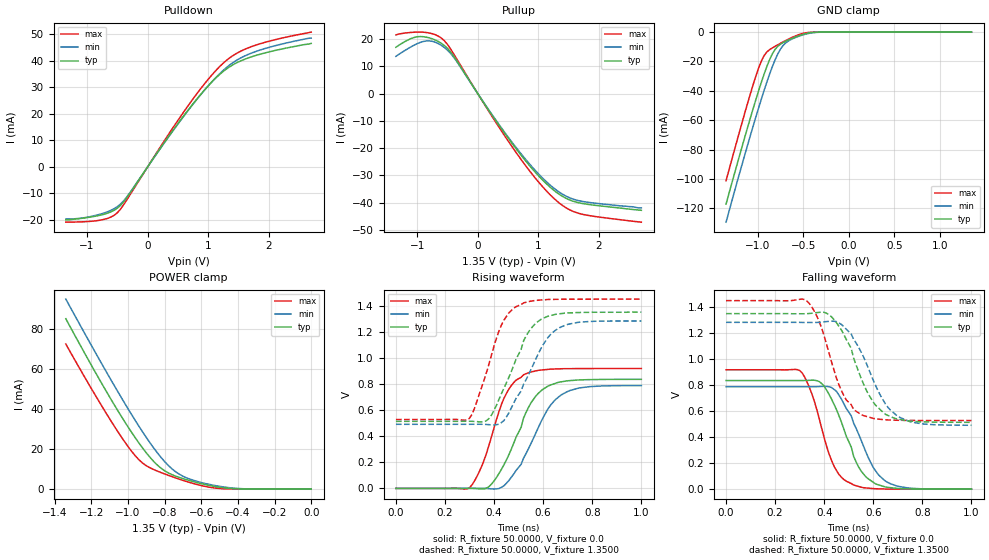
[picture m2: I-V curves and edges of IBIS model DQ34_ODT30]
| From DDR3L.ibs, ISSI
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|   Model DQ34_ODT30
[Model]  DQ34_ODT30
Model_type I/O
Polarity   Non-Inverting
Enable   Active-High
Vinl = 515.0mV
Vinh = 835.0mV
Vmeas = 675.0mV
Vref = 675.0mV
Cref = 0.0pF
Rref = 25.0Ohm
C_comp   1.3000pF   1.2000pF   1.4000pF
[Model Spec]
| Input threshold voltage corners
Vinl   0.5150V   0.4815V   0.5650V
Vinh   0.8350V   0.8015V   0.8850V
| Measurement voltage corners
Vmeas   0.6750V   0.6415V   0.7250V
| Timing spec test load voltage corners
Vref   0.6750V   0.6415V   0.7250V
[Receiver Thresholds]
Vth   =  0.675V
Vth_min  =  0.6615V
Vth_max  =  0.6885V
Vinh_ac  =  0.160V
Vinh_dc  =  0.090V
Vinl_ac  = -0.160V
Vinl_dc  = -0.090V
Tslew_ac =  5.0ns
Threshold_sensitivity = 0.50
Reference_supply Pullup_ref
[Add Submodel]
| Submodel Name   Mode
ODT30ohm   Non-Driving
[Temperature Range]   50.0000   125   -40.0000
[Voltage Range]   1.3500V   1.2830V   1.4500V
[Pullup Reference]   1.3500V   1.2830V   1.4500V
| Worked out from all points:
|   slope of the pulldown table from 0 to 0.203 V, typ, clamps not added: 29.9 ohm
|   slope of the pullup table from 0 to 0.203 V, typ, clamps not added: 29.8 ohm
|   GND clamp passes 1 mA (typ) near -0.47 V on its own axis
|   POWER clamp passes 1 mA (typ) near -0.50 V on its own axis
|   rising waveform, R_fixture 50.0000, V_fixture 0.0: 20-80 % time 119ps typ, 129ps min, 100ps max; typ from 0 V to 0.835 V
|   rising waveform, R_fixture 50.0000, V_fixture 1.3500: 20-80 % time 116ps typ, 129ps min, 96.1ps max; typ from 0.514 V to 1.35 V
|   falling waveform, R_fixture 50.0000, V_fixture 0.0: 20-80 % time 106ps typ, 116ps min, 89.1ps max; typ from 0.836 V to 0 V
|   falling waveform, R_fixture 50.0000, V_fixture 1.3500: 20-80 % time 114ps typ, 122ps min, 97.8ps max; typ from 1.35 V to 0.514 V
[Pulldown]
|Voltage   I(typ)   I(min)   I(max)
-1.35V    -19.9mA    -19.6mA    -20.8mA
-800mV    -18.27mA   -17.91mA   -20.11mA
-600mV    -16.85mA   -16.28mA   -18.81mA
-500mV    -15.53mA   -14.96mA   -17.25mA
-350mV    -11.77mA   -11.5mA    -12.63mA
300mV     9.949mA    9.82mA     10.67mA
700mV     22.33mA    22.16mA    24.04mA
1.05V     31.73mA    31.77mA    34.32mA
1.35V     37.63mA    38.28mA    40.97mA
1.55V     40.03mA    41.17mA    43.71mA
1.85V     42.37mA    43.94mA    46.3mA
2.7V      46.47mA    48.5mA     50.74mA
[Pullup]
|Voltage   I(typ)   I(min)   I(max)
-1.35V    16.97mA    13.64mA    21.52mA
-1.1V     20.17mA    17.14mA    22.41mA
-900mV    20.84mA    19.08mA    22.49mA
-750mV    20.05mA    19.14mA    21.94mA
-550mV    17.6mA     16.88mA    19.34mA
-350mV    12.13mA    11.86mA    12.8mA
200mV     -6.722mA   -6.578mA   -7.13mA
650mV     -20.74mA   -20.27mA   -22.14mA
1.05V     -31.23mA   -30.53mA   -33.63mA
1.35V     -37.01mA   -36.21mA   -40.21mA
1.7V      -40.2mA    -39.42mA   -44.12mA
2.7V      -42.8mA    -41.9mA    -47.16mA
[GND_clamp]
|Voltage   I(typ)   I(min)   I(max)
-1.35V    -117.1mA   -129.4mA   -101.2mA
-1.08V    -57.93mA   -69.88mA   -41.5mA
-1.02V    -45.58mA   -57.36mA   -29.58mA
-960mV    -33.86mA   -45.27mA   -19.5mA
-900mV    -23.24mA   -33.83mA   -13.46mA
-840mV    -14.74mA   -23.41mA   -10.74mA
-810mV    -11.75mA   -18.81mA   -9.661mA
-750mV    -8.206mA   -11.48mA   -7.6mA
-690mV    -6.151mA   -7.182mA   -5.641mA
-510mV    -1.654mA   -2.029mA   -975.4uA
-330mV    -49.01uA   -123.8uA   -4.934uA
1.35V     3.868nA    191.1nA    362.8pA
[POWER_clamp]
|Voltage   I(typ)   I(min)   I(max)
-1.34V    85.33mA    95.18mA    72.7mA
-1.1V     46.03mA    55.77mA    35.14mA
-1.02V    34mA       43.27mA    23.9mA
-960mV    25.64mA    34.29mA    16.65mA
-900mV    18.14mA    25.83mA    11.71mA
-840mV    12.06mA    18.18mA    9.048mA
-800mV    9.184mA    13.77mA    7.615mA
-740mV    6.524mA    8.687mA    5.621mA
-640mV    3.693mA    4.333mA    2.742mA
-460mV    521.1uA    870.3uA    118.9uA
-320mV    22.42uA    75.35uA    910.1nA
0V        3.868nA    46.22nA    484.7pA
[Ramp]
| variable   typ   min   max
dV/dt_r  0.5012/0.1191n   0.4727/0.1310n   0.5510/99.9953p
dV/dt_f  0.5016/0.1143n   0.4750/0.1218n   0.5533/97.8122p
R_load = 50.0000
[Rising Waveform]
R_fixture= 50.0000
V_fixture= 0.0
V_fixture_min= 0.0
V_fixture_max= 0.0
|time   V(typ)   V(min)   V(max)
0s        0V         1.099uV    0V
300ps     698.8uV    71.03uV    5.855mV
350ps     -4.058mV   562.7uV    172mV
400ps     57.75mV    -4.952mV   465.2mV
460ps     256.7mV    59.91mV    760.6mV
520ps     538.8mV    231.4mV    870.3mV
590ps     745.7mV    505.9mV    906.2mV
630ps     791.9mV    637.3mV    913.3mV
680ps     818.3mV    723.3mV    916.6mV
1ns       835.4mV    787.8mV    918.3mV
[Rising Waveform]
R_fixture= 50.0000
V_fixture= 1.3500
V_fixture_min= 1.2830
V_fixture_max= 1.4500
|time   V(typ)   V(min)   V(max)
0s        513.8mV    491mV      527.9mV
300ps     514.3mV    491.1mV    538.1mV
360ps     511.1mV    490.6mV    834mV
390ps     563.3mV    486.8mV    1.026V
440ps     767.3mV    519.5mV    1.288V
520ps     1.129V     797.1mV    1.42V
550ps     1.224V     908.9mV    1.434V
600ps     1.303V     1.101V     1.444V
670ps     1.338V     1.234V     1.449V
1ns       1.35V      1.282V     1.45V
[Falling Waveform]
R_fixture= 50.0000
V_fixture= 0.0
V_fixture_min= 0.0
V_fixture_max= 0.0
|time   V(typ)   V(min)   V(max)
0s        835.5mV    788mV      918.3mV
300ps     835.2mV    787.9mV    912.3mV
350ps     838mV      787.8mV    731mV
400ps     791.4mV    790.8mV    394.2mV
460ps     564.9mV    722.9mV    113.2mV
520ps     251.4mV    507mV      31.84mV
550ps     141mV      378.7mV    15.47mV
600ps     52.45mV    166.7mV    4.493mV
660ps     14.12mV    50.78mV    916.3uV
1ns       13.12uV    42.17uV    948.8nV
[Falling Waveform]
R_fixture= 50.0000
V_fixture= 1.3500
V_fixture_min= 1.2830
V_fixture_max= 1.4500
|time   V(typ)   V(min)   V(max)
0s        1.35V      1.283V     1.45V
330ps     1.35V      1.282V     1.446V
380ps     1.36V      1.283V     1.287V
440ps     1.303V     1.291V     914.6mV
490ps     1.151V     1.23V      686.2mV
550ps     854.4mV    1.056V     574.7mV
610ps     643.9mV    794.5mV    540.7mV
650ps     575.1mV    653.5mV    533.4mV
700ps     539.3mV    559.8mV    529.8mV
1ns       514mV      491.3mV    527.9mV
